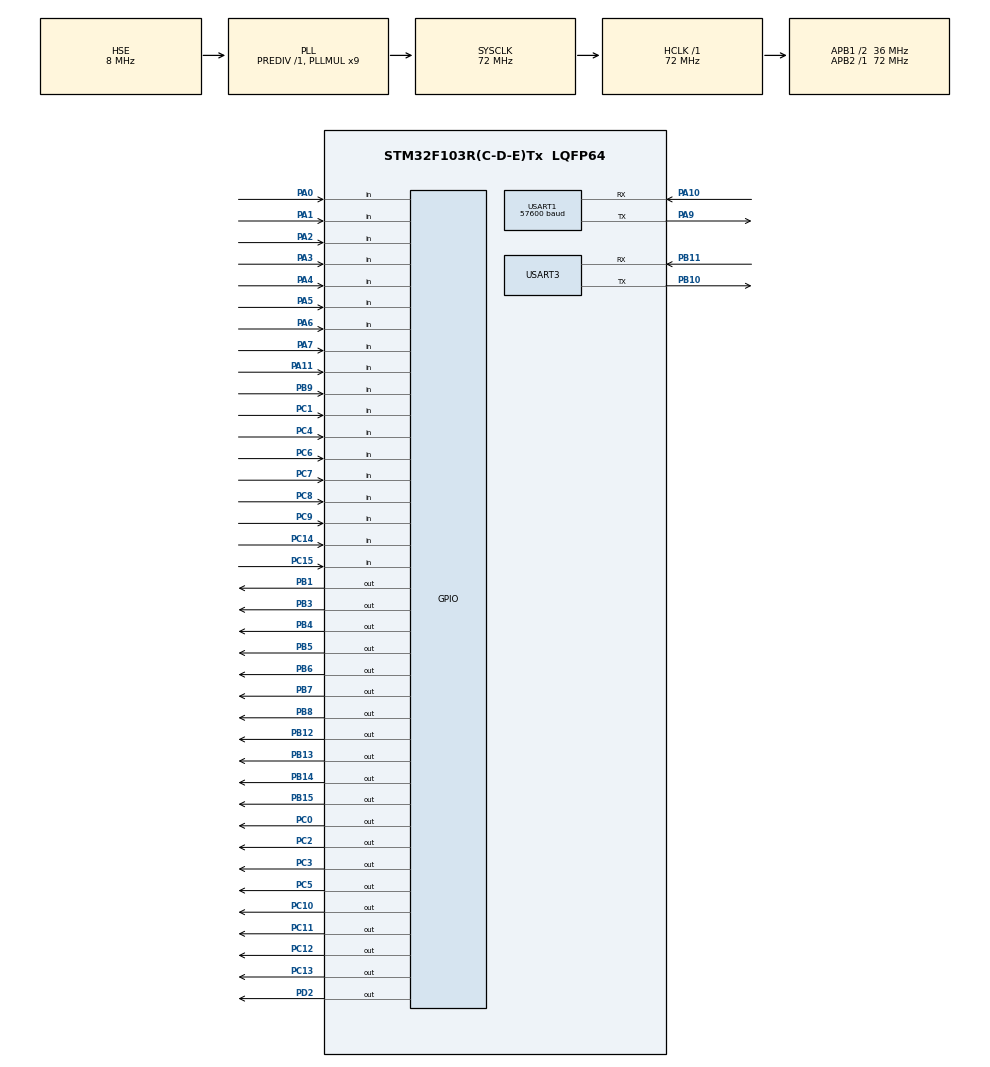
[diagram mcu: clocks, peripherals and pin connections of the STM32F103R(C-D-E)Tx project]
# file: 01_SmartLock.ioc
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Dma.Request0=USART3_RX
Dma.Request1=USART3_TX
Dma.USART3_RX.0.Direction=DMA_PERIPH_TO_MEMORY
Dma.USART3_RX.0.Instance=DMA1_Channel3
Dma.USART3_RX.0.MemDataAlignment=DMA_MDATAALIGN_BYTE
Dma.USART3_RX.0.MemInc=DMA_MINC_ENABLE
Dma.USART3_RX.0.Mode=DMA_CIRCULAR
Dma.USART3_RX.0.PeriphDataAlignment=DMA_PDATAALIGN_BYTE
Dma.USART3_RX.0.PeriphInc=DMA_PINC_DISABLE
Dma.USART3_RX.0.Priority=DMA_PRIORITY_LOW
Dma.USART3_TX.1.Direction=DMA_MEMORY_TO_PERIPH
Dma.USART3_TX.1.Instance=DMA1_Channel2
Dma.USART3_TX.1.MemDataAlignment=DMA_MDATAALIGN_BYTE
Dma.USART3_TX.1.MemInc=DMA_MINC_ENABLE
Dma.USART3_TX.1.Mode=DMA_NORMAL
Dma.USART3_TX.1.PeriphDataAlignment=DMA_PDATAALIGN_BYTE
Dma.USART3_TX.1.PeriphInc=DMA_PINC_DISABLE
Dma.USART3_TX.1.Priority=DMA_PRIORITY_LOW
Mcu.Family=STM32F1
Mcu.Name=STM32F103R(C-D-E)Tx
Mcu.Package=LQFP64
NVIC.DMA1_Channel2_IRQn=true\:0\:0\:false\:false\:true\:false\:true\:true
NVIC.DMA1_Channel3_IRQn=true\:0\:0\:false\:false\:true\:false\:true\:true
NVIC.PriorityGroup=NVIC_PRIORITYGROUP_4
NVIC.TIM1_UP_IRQn=true\:0\:0\:false\:false\:true\:true\:true\:true
NVIC.USART1_IRQn=true\:0\:0\:false\:false\:true\:true\:true\:true
NVIC.USART3_IRQn=true\:0\:0\:false\:false\:true\:true\:true\:true
PA0-WKUP.GPIO_PuPd=GPIO_PULLUP
PA0-WKUP.Signal=GPIO_Input
PA1.GPIO_PuPd=GPIO_PULLUP
PA1.Signal=GPIO_Input
PA10.GPIO_PuPd=GPIO_PULLUP
PA10.Mode=Asynchronous
PA10.Signal=USART1_RX
PA11.GPIO_PuPd=GPIO_PULLUP
PA11.Signal=GPIO_Input
PA13.Mode=Serial_Wire
PA13.Signal=SYS_JTMS-SWDIO
PA14.Mode=Serial_Wire
PA14.Signal=SYS_JTCK-SWCLK
PA2.GPIO_PuPd=GPIO_PULLUP
PA2.Signal=GPIO_Input
PA3.GPIO_PuPd=GPIO_PULLUP
PA3.Signal=GPIO_Input
PA4.GPIO_PuPd=GPIO_PULLUP
PA4.Signal=GPIO_Input
PA5.GPIO_PuPd=GPIO_PULLUP
PA5.Signal=GPIO_Input
PA6.GPIO_PuPd=GPIO_PULLUP
PA6.Signal=GPIO_Input
PA7.GPIO_PuPd=GPIO_PULLUP
PA7.Signal=GPIO_Input
PA9.Mode=Asynchronous
PA9.Signal=USART1_TX
PB1.GPIO_Speed=GPIO_SPEED_FREQ_HIGH
PB1.PinState=GPIO_PIN_SET
PB1.Signal=GPIO_Output
PB10.Mode=Asynchronous
PB10.Signal=USART3_TX
PB11.GPIO_PuPd=GPIO_PULLUP
PB11.Mode=Asynchronous
PB11.Signal=USART3_RX
PB12.GPIO_Speed=GPIO_SPEED_FREQ_HIGH
PB12.PinState=GPIO_PIN_SET
PB12.Signal=GPIO_Output
PB13.GPIO_Speed=GPIO_SPEED_FREQ_HIGH
PB13.PinState=GPIO_PIN_SET
PB13.Signal=GPIO_Output
PB14.GPIO_Speed=GPIO_SPEED_FREQ_HIGH
PB14.PinState=GPIO_PIN_SET
PB14.Signal=GPIO_Output
PB15.GPIO_Speed=GPIO_SPEED_FREQ_HIGH
PB15.PinState=GPIO_PIN_SET
PB15.Signal=GPIO_Output
PB3.GPIO_Speed=GPIO_SPEED_FREQ_HIGH
PB3.PinState=GPIO_PIN_SET
PB3.Signal=GPIO_Output
PB4.GPIO_Speed=GPIO_SPEED_FREQ_HIGH
PB4.PinState=GPIO_PIN_SET
PB4.Signal=GPIO_Output
PB5.GPIO_Speed=GPIO_SPEED_FREQ_HIGH
PB5.PinState=GPIO_PIN_SET
PB5.Signal=GPIO_Output
PB6.GPIO_Speed=GPIO_SPEED_FREQ_HIGH
PB6.PinState=GPIO_PIN_SET
PB6.Signal=GPIO_Output
PB7.GPIO_Speed=GPIO_SPEED_FREQ_HIGH
PB7.PinState=GPIO_PIN_SET
PB7.Signal=GPIO_Output
PB8.GPIO_Speed=GPIO_SPEED_FREQ_HIGH
PB8.PinState=GPIO_PIN_SET
PB8.Signal=GPIO_Output
PB9.GPIO_PuPd=GPIO_PULLUP
PB9.Signal=GPIO_Input
PC0.GPIO_Speed=GPIO_SPEED_FREQ_HIGH
PC0.PinState=GPIO_PIN_SET
PC0.Signal=GPIO_Output
PC1.GPIO_PuPd=GPIO_PULLUP
PC1.Signal=GPIO_Input
PC10.GPIO_Speed=GPIO_SPEED_FREQ_HIGH
PC10.PinState=GPIO_PIN_SET
PC10.Signal=GPIO_Output
PC11.GPIO_Speed=GPIO_SPEED_FREQ_HIGH
PC11.PinState=GPIO_PIN_SET
PC11.Signal=GPIO_Output
PC12.GPIO_Speed=GPIO_SPEED_FREQ_HIGH
PC12.PinState=GPIO_PIN_SET
PC12.Signal=GPIO_Output
PC13-TAMPER-RTC.GPIO_Speed=GPIO_SPEED_FREQ_HIGH
PC13-TAMPER-RTC.PinState=GPIO_PIN_SET
PC13-TAMPER-RTC.Signal=GPIO_Output
PC14-OSC32_IN.GPIO_PuPd=GPIO_PULLUP
PC14-OSC32_IN.Signal=GPIO_Input
PC15-OSC32_OUT.GPIO_PuPd=GPIO_PULLUP
PC15-OSC32_OUT.Signal=GPIO_Input
PC2.GPIO_Speed=GPIO_SPEED_FREQ_HIGH
PC2.PinState=GPIO_PIN_SET
PC2.Signal=GPIO_Output
PC3.GPIO_Speed=GPIO_SPEED_FREQ_HIGH
PC3.PinState=GPIO_PIN_SET
PC3.Signal=GPIO_Output
PC4.GPIO_PuPd=GPIO_PULLUP
PC4.Signal=GPIO_Input
PC5.GPIO_Speed=GPIO_SPEED_FREQ_HIGH
PC5.PinState=GPIO_PIN_SET
PC5.Signal=GPIO_Output
PC6.GPIO_PuPd=GPIO_PULLDOWN
PC6.Signal=GPIO_Input
PC7.GPIO_PuPd=GPIO_PULLDOWN
PC7.Signal=GPIO_Input
PC8.GPIO_PuPd=GPIO_PULLDOWN
PC8.Signal=GPIO_Input
PC9.GPIO_PuPd=GPIO_PULLDOWN
PC9.Signal=GPIO_Input
PD0-OSC_IN.Mode=HSE-External-Oscillator
PD0-OSC_IN.Signal=RCC_OSC_IN
PD1-OSC_OUT.Mode=HSE-External-Oscillator
PD1-OSC_OUT.Signal=RCC_OSC_OUT
PD2.GPIO_Speed=GPIO_SPEED_FREQ_HIGH
PD2.PinState=GPIO_PIN_SET
PD2.Signal=GPIO_Output
ProjectManager.HeapSize=0x200
ProjectManager.StackSize=0x400
ProjectManager.TargetToolchain=MDK-ARM V5.32
RCC.AHBFreq_Value=72000000
RCC.APB1CLKDivider=RCC_HCLK_DIV2
RCC.APB1Freq_Value=36000000
RCC.APB1TimFreq_Value=72000000
RCC.APB2Freq_Value=72000000
RCC.APB2TimFreq_Value=72000000
RCC.HCLKFreq_Value=72000000
RCC.PLLMUL=RCC_PLL_MUL9
RCC.PLLSourceVirtual=RCC_PLLSOURCE_HSE
RCC.SYSCLKFreq_VALUE=72000000
RCC.SYSCLKSource=RCC_SYSCLKSOURCE_PLLCLK
RCC.USBFreq_Value=72000000
TIM1.AutoReloadPreload=TIM_AUTORELOAD_PRELOAD_ENABLE
TIM1.Period=720
TIM1.Prescaler=100
TIM1.TIM_MasterOutputTrigger=TIM_TRGO_RESET
TIM1.TIM_MasterSlaveMode=TIM_MASTERSLAVEMODE_DISABLE
USART1.BaudRate=57600
USART1.VirtualMode=VM_ASYNC
USART3.VirtualMode=VM_ASYNC
VP_TIM1_VS_ClockSourceINT.Mode=Internal
board=custom

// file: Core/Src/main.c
/* USER CODE BEGIN Header */
/**
  ******************************************************************************
  * @file           : main.c
  * @brief          : Main program body
  ******************************************************************************
  * @attention
  *
  * Copyright (c) 2025 STMicroelectronics.
  * All rights reserved.
  *
  * This software is licensed under terms that can be found in the LICENSE file
  * in the root directory of this software component.
  * If no LICENSE file comes with this software, it is provided AS-IS.
  *
  ******************************************************************************
  */
/* USER CODE END Header */
#include "main.h"
#include "dma.h"
#include "tim.h"
#include "usart.h"
#include "gpio.h"

/* USER CODE BEGIN Includes */
#include <stdio.h>
#include <string.h>
#include "SystemFuction.h"
/* USER CODE END Includes */

/* USER CODE BEGIN PM */
lcd_handle_t lcd_1;
key_handle_t key_1 = {
	.IO = {
		.C1 = {GPIOC, GPIO_PIN_6},
		.C2 = {GPIOC, GPIO_PIN_7},
		.C3 = {GPIOC, GPIO_PIN_8},
		.C4 = {GPIOC, GPIO_PIN_9},
		.R1 = {GPIOB, GPIO_PIN_12},
		.R2 = {GPIOB, GPIO_PIN_13},
		.R3 = {GPIOB, GPIO_PIN_14},
		.R4 = {GPIOB, GPIO_PIN_15},
	},
};
as608_handle_t as608_1;
rc522_handle_t rc522_1 = {
  .IO = {
    .SDA = {GPIOB, GPIO_PIN_8},
    .SCK = {GPIOB, GPIO_PIN_7},
    .MOSI = {GPIOB, GPIO_PIN_6},
    .MISO = {GPIOB, GPIO_PIN_9},
    .RST = {GPIOC, GPIO_PIN_13},
    .IRQ = {GPIOC, GPIO_PIN_14},
  }
};
esp_handle_t esp_1 = {
  .huartx = &huart3,
  .rxBufferAddr = rx3Buffer,
  .rxBufferSize = 256,
  .txBufferAddr = tx3Buffer,
  .txBufferSize = 256,
  .io.rst = {GPIOB, GPIO_PIN_1},
};
password_structure_t sys_password = {
	.len = 6
};
password_structure_t password;

sccb_handle_t sccb_1 =
{
  .id_addr = 0x60,
  .io =
  {
    .scl = {GPIOC, GPIO_PIN_0},
    .sda = {GPIOC, GPIO_PIN_2},
  },
};

ov2640_handle_t ov2640_1 =
{
  .io =
  {
    .data =
    {
      {GPIOA, GPIO_PIN_0},
      {GPIOA, GPIO_PIN_1},
      {GPIOA, GPIO_PIN_2},
      {GPIOA, GPIO_PIN_3},
      {GPIOA, GPIO_PIN_4},
      {GPIOA, GPIO_PIN_5},
      {GPIOA, GPIO_PIN_6},
      {GPIOA, GPIO_PIN_7},
    },
    .dclk = {GPIOC, GPIO_PIN_4},
    .pwdn = {GPIOC, GPIO_PIN_5},
    .href = {GPIOC, GPIO_PIN_1},
    .rst = {GPIOC, GPIO_PIN_3},
    .vsync = {GPIOC, GPIO_PIN_15},
  },
  .sccb_handle = &sccb_1,
};

onenet_handle_t onenet_1 =
{
  .esp = &esp_1,
};

motor_handle_t motor_1 =
{
  .IO =
  {
    .MD0 = {GPIOD, GPIO_PIN_2},
    .MD1 = {GPIOC, GPIO_PIN_12},
    .MD2 = {GPIOC, GPIO_PIN_11},
    .MD3 = {GPIOC, GPIO_PIN_10},
  },
};

system_handle_t sys =
{
	.as608 = &as608_1,
	.key = &key_1,
	.lcd = &lcd_1,
	.password = &sys_password,
  .rc522 = &rc522_1,
  .esp = &esp_1,
  .ov2640 = &ov2640_1,
  .onenet = &onenet_1,
  .motor = &motor_1,
};

uint16_t keynum;
uint8_t finger_flag;
/* USER CODE END PM */

void SystemClock_Config(void);
/* USER CODE BEGIN PFP */
void Task_KeyScan(system_handle_t *system);
/* USER CODE END PFP */

int main(void)
{

  /* MCU Configuration--------------------------------------------------------*/

  /* Reset of all peripherals, Initializes the Flash interface and the Systick. */
  HAL_Init();

  /* Configure the system clock */
  SystemClock_Config();

  /* Initialize all configured peripherals */
  MX_GPIO_Init();
  MX_DMA_Init();
  MX_TIM1_Init();
  MX_USART1_UART_Init();
  MX_USART3_UART_Init();
  /* USER CODE BEGIN 2 */
	System_Init(&sys, 160 / 16 - 1);

  /* USER CODE END 2 */

  /* Infinite loop */
  /* USER CODE BEGIN WHILE */
  while (1)
  {
    System_UpdateLockStatus(&sys);
    System_UpdataMotor(&sys);
    ESP_Run(&esp_1);
    OneNet_Run(&onenet_1);
    if(sys.errorLock == 0)
    {
      Task_KeyScan(&sys);
    }
    else
    {
      System_ShowRestErrorMillis(&sys);
    }

    /* USER CODE END WHILE */

  }
}

void SystemClock_Config(void)
{
  RCC_OscInitTypeDef RCC_OscInitStruct = {0};
  RCC_ClkInitTypeDef RCC_ClkInitStruct = {0};

  /** Initializes the RCC Oscillators according to the specified parameters
  * in the RCC_OscInitTypeDef structure.
  */
  RCC_OscInitStruct.OscillatorType = RCC_OSCILLATORTYPE_HSE;
  RCC_OscInitStruct.HSEState = RCC_HSE_ON;
  RCC_OscInitStruct.HSEPredivValue = RCC_HSE_PREDIV_DIV1;
  RCC_OscInitStruct.HSIState = RCC_HSI_ON;
  RCC_OscInitStruct.PLL.PLLState = RCC_PLL_ON;
  RCC_OscInitStruct.PLL.PLLSource = RCC_PLLSOURCE_HSE;
  RCC_OscInitStruct.PLL.PLLMUL = RCC_PLL_MUL9;
  if (HAL_RCC_OscConfig(&RCC_OscInitStruct) != HAL_OK)
  {
    Error_Handler();
  }

  /** Initializes the CPU, AHB and APB buses clocks
  */
  RCC_ClkInitStruct.ClockType = RCC_CLOCKTYPE_HCLK|RCC_CLOCKTYPE_SYSCLK
                              |RCC_CLOCKTYPE_PCLK1|RCC_CLOCKTYPE_PCLK2;
  RCC_ClkInitStruct.SYSCLKSource = RCC_SYSCLKSOURCE_PLLCLK;
  RCC_ClkInitStruct.AHBCLKDivider = RCC_SYSCLK_DIV1;
  RCC_ClkInitStruct.APB1CLKDivider = RCC_HCLK_DIV2;
  RCC_ClkInitStruct.APB2CLKDivider = RCC_HCLK_DIV1;

  if (HAL_RCC_ClockConfig(&RCC_ClkInitStruct, FLASH_LATENCY_2) != HAL_OK)
  {
    Error_Handler();
  }
}

/* USER CODE BEGIN 4 */
void Task_KeyScan(system_handle_t *system)
{
	uint8_t keynum = 0, fingerFlag = 0;
  uint8_t pageContent = system->pageContent, content = system->content;
	keynum = Key_GetNum(system->key);
  fingerFlag = AS608_GetWAK(system->as608);
	if(keynum != 0 && keynum <= 10)
	{
		System_UnlockByPassword(system);
    System_ShowFunction(system);
	}
	else if(keynum == 14)
	{
		if(system->index > 0)
		{
			system->index --;
		}
		else
		{
			system->index = content - 1;
		}
    System_ShowFunction(system);
	}
	else if(keynum == 15)
	{
		if(system->index < content - 1)
		{
			system->index ++;
		}
		else
		{
			system->index = 0;
		}
    System_ShowFunction(system);
	}
	else if(keynum == 16)
	{
		System_DoFunction(system);
    System_ShowFunction(system);
	}
	else if(fingerFlag == 1)
	{
		System_UnlockByFingerprint(system);
    System_ShowFunction(system);
	}
  else if(RC522_PcdRequest(system->rc522, PICC_REQALL, NULL) == MI_OK)
  {
    System_UnlockByIDCard(system);
    System_ShowFunction(system);
  }
}
/* USER CODE END 4 */

void Error_Handler(void)
{
  /* USER CODE BEGIN Error_Handler_Debug */
  /* User can add his own implementation to report the HAL error return state */
  __disable_irq();
  while (1)
  {
    HAL_UART_Transmit(&huart1, (uint8_t *)"Error\r\n", sizeof("Error\r\n"), HAL_MAX_DELAY);
    HAL_Delay(1000);
  }
  /* USER CODE END Error_Handler_Debug */
}
